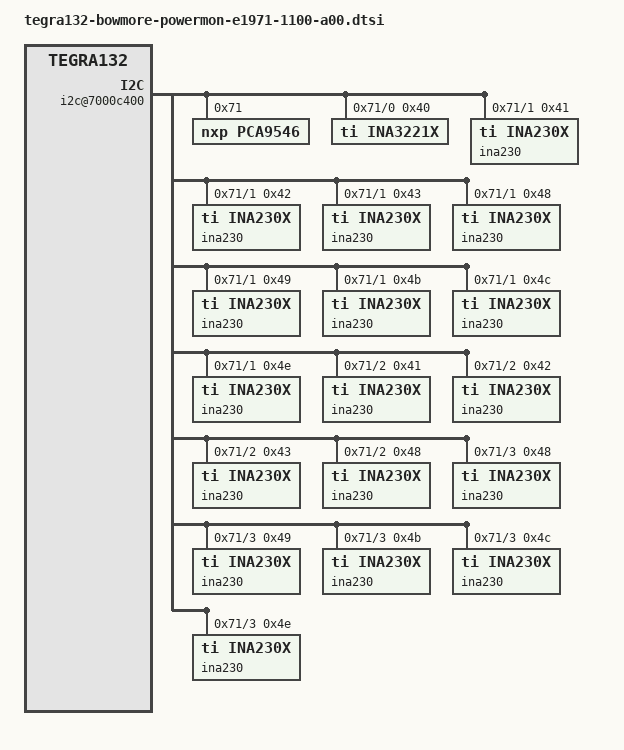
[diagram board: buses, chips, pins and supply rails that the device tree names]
/*
 * Power monitor devices for the E1971
 *
 * Copyright (c) 2014, NVIDIA CORPORATION.  All rights reserved.
 *
 * This program is free software; you can redistribute it and/or modify
 * it under the terms of the GNU General Public License as published by
 * the Free Software Foundation; either version 2 of the License, or
 * (at your option) any later version.
 *
 * This program is distributed in the hope that it will be useful, but WITHOUT
 * ANY WARRANTY; without even the implied warranty of MERCHANTABILITY or
 * FITNESS FOR A PARTICULAR PURPOSE.  See the GNU General Public License for
 * more details.
 */

/ {
	i2c@7000c400 {
		pca9546@71 {
			compatible = "nxp,pca9546";
			reg = <0x71>;
			#address-cells = <1>;
			#size-cells = <0>;
			i2c@0 {
				reg = <0>;
				#address-cells = <1>;
				#size-cells = <0>;
				i2c-mux,deselect-on-exit;

				ina3221x@40 {
					compatible = "ti,ina3221x";
					reg = <0x40>;
					ti,trigger-config = <0x7003>;
					ti,continuous-config = <0x7c07>;
					#address-cells = <1>;
					#size-cells = <0>;

					channel@0 {
						reg = <0x0>;
						ti,rail-name = "VDD_BAT_CHG";
						ti,current-warning-limit-ma = <8000>;
						ti,current-critical-limit-ma = <9000>;
						ti,shunt-resistor-mohm = <1>;
					};

					channel@1 {
						reg = <0x1>;
						ti,rail-name = "VDD_CPU";
						ti,shunt-resistor-mohm = <1>;
					};

					channel@2 {
						reg = <0x2>;
						ti,rail-name = "VDD_WWAN_MDM";
						ti,shunt-resistor-mohm = <1>;
					};
				};
			};

			i2c@1 {
				reg = <1>;
				i2c-mux,deselect-on-exit;
				#address-cells = <1>;
				#size-cells = <0>;

				ina230@41{
					compatible = "ti,ina230x";
					reg = <0x41>;
					ti,rail-name = "VDD_BAT_CHG";
					ti,continuous-config = <0x0407>;
					ti,trigger-config = <0x0403>;
					ti,calibration-data = <0x0E90>;
					ti,resistor = <5>;
					ti,power-lsb = <6866>;
					ti,divisor = <25>;
					ti,precision-multiplier = <1000>;
				};

				ina230@42{
					compatible = "ti,ina230x";
					reg = <0x42>;
					ti,rail-name = "VDD_SYS_BUCKCPU";
					ti,continuous-config = <0x0407>;
					ti,trigger-config = <0x0403>;
					ti,calibration-data = <0x0F9D>;
					ti,resistor = <10>;
					ti,power-lsb = <3202>;
					ti,divisor = <25>;
					ti,precision-multiplier = <1000>;
				};

				ina230@43{
					compatible = "ti,ina230x";
					reg = <0x43>;
					ti,rail-name = "VDD_SYS_BUCKGPU";
					ti,continuous-config = <0x0407>;
					ti,trigger-config = <0x0403>;
					ti,calibration-data = <0x176B>;
					ti,resistor = <10>;
					ti,power-lsb = <2135>;
					ti,divisor = <25>;
					ti,precision-multiplier = <1000>;
				};

				ina230@48{
					compatible = "ti,ina230x";
					reg = <0x48>;
					ti,rail-name = "VDD_SYS_BUCKSOC";
					ti,continuous-config = <0x0407>;
					ti,trigger-config = <0x0403>;
					ti,calibration-data = <0x2ED7>;
					ti,resistor = <10>;
					ti,power-lsb = <1067>;
					ti,divisor = <25>;
					ti,precision-multiplier = <1000>;
				};

				ina230@49{
					compatible = "ti,ina230x";
					reg = <0x49>;
					ti,rail-name = "VDD_5V0_SD2";
					ti,continuous-config = <0x0407>;
					ti,trigger-config = <0x0403>;
					ti,calibration-data = <0x4BAC>;
					ti,resistor = <10>;
					ti,power-lsb = <660>;
					ti,divisor = <25>;
					ti,precision-multiplier = <1000>;
				};

				ina230@4b{
					compatible = "ti,ina230x";
					reg = <0x4B>;
					ti,rail-name = "VDD_WWAN_MDM";
					ti,continuous-config = <0x0407>;
					ti,trigger-config = <0x0403>;
					ti,calibration-data = <0x3F39>;
					ti,resistor = <5>;
					ti,power-lsb = <1581>;
					ti,divisor = <25>;
					ti,precision-multiplier = <1000>;
				};

				ina230@4c{
					compatible = "ti,ina230x";
					reg = <0x4C>;
					ti,rail-name = "VDD_SYS_BL";
					ti,continuous-config = <0x0407>;
					ti,trigger-config = <0x0403>;
					ti,calibration-data = <0x2D6A>;
					ti,resistor = <30>;
					ti,power-lsb = <366>;
					ti,divisor = <25>;
					ti,precision-multiplier = <1000>;
				};

				ina230@4e{
					compatible = "ti,ina230x";
					reg = <0x4E>;
					ti,rail-name = "VDD_3V3A_COM";
					ti,continuous-config = <0x0407>;
					ti,trigger-config = <0x0403>;
					ti,calibration-data = <0x0C17>;
					ti,resistor = <100>;
					ti,power-lsb = <413>;
					ti,divisor = <25>;
					ti,precision-multiplier = <1000>;
				};
			};

			i2c@2 {
				reg = <2>;
				#address-cells = <1>;
				#size-cells = <0>;
				i2c-mux,deselect-on-exit;
				ina230@41{
					compatible = "ti,ina230x";
					reg = <0x41>;
					ti,rail-name = "VDD_RTC_LDO3";
					ti,continuous-config = <0x0407>;
					ti,trigger-config = <0x0403>;
					ti,calibration-data = <0x7FFF>;
					ti,resistor = <50>;
					ti,power-lsb = <78>;
					ti,divisor = <25>;
					ti,precision-multiplier = <1000>;
				};

				ina230@42{
					compatible = "ti,ina230x";
					reg = <0x42>;
					ti,rail-name = "VDD_3V3A_LDO1_6";
					ti,continuous-config = <0x0407>;
					ti,trigger-config = <0x0403>;
					ti,calibration-data = <0x7FFF>;
					ti,resistor = <1000>;
					ti,power-lsb = <3>;
					ti,divisor = <25>;
					ti,precision-multiplier = <1000>;
				};

				ina230@43{
					compatible = "ti,ina230x";
					reg = <0x43>;
					ti,rail-name = "VDD_DIS_3V3_LCD";
					ti,continuous-config = <0x0407>;
					ti,trigger-config = <0x0403>;
					ti,calibration-data = <0x7FFF>;
					ti,resistor = <10>;
					ti,power-lsb = <390>;
					ti,divisor = <25>;
					ti,precision-multiplier = <1000>;
				};

				ina230@48{
					compatible = "ti,ina230x";
					reg = <0x48>;
					ti,rail-name = "VDD_LCD_1V8B_DIS";
					ti,continuous-config = <0x0407>;
					ti,trigger-config = <0x0403>;
					ti,calibration-data = <0x7FFF>;
					ti,resistor = <100>;
					ti,power-lsb = <39>;
					ti,divisor = <25>;
					ti,precision-multiplier = <1000>;
				};
			};

			i2c@3 {
				reg = <3>;
				#address-cells = <1>;
				#size-cells = <0>;
				i2c-mux,deselect-on-exit;

				ina230@48{
					compatible = "ti,ina230x";
					reg = <0x48>;
					ti,rail-name = "VDD_GPU_BUCKGPU";
					ti,continuous-config = <0x0407>;
					ti,trigger-config = <0x0403>;
					ti,calibration-data = <0x51EA>;
					ti,resistor = <1>;
					ti,power-lsb = <6103>;
					ti,divisor = <25>;
					ti,precision-multiplier = <1000>;
				};

				ina230@49{
					compatible = "ti,ina230x";
					reg = <0x49>;
					ti,rail-name = "VDD_SOC_SD1";
					ti,continuous-config = <0x0407>;
					ti,trigger-config = <0x0403>;
					ti,calibration-data = <0x7FFF>;
					ti,resistor = <1>;
					ti,power-lsb = <3906>;
					ti,divisor = <25>;
					ti,precision-multiplier = <1000>;
				};

				ina230@4b{
					compatible = "ti,ina230x";
					reg = <0x4B>;
					ti,rail-name = "VDD_CPU_BUCKCPU";
					ti,continuous-config = <0x0407>;
					ti,trigger-config = <0x0403>;
					ti,calibration-data = <0x369C>;
					ti,resistor = <1>;
					ti,power-lsb = <9155>;
					ti,divisor = <25>;
					ti,precision-multiplier = <1000>;
				};

				ina230@4c{
					compatible = "ti,ina230x";
					reg = <0x4C>;
					ti,rail-name = "VDD_1V8_SD5";
					ti,continuous-config = <0x0407>;
					ti,trigger-config = <0x0403>;
					ti,calibration-data = <0x7FFF>;
					ti,resistor = <3>;
					ti,power-lsb = <1302>;
					ti,divisor = <25>;
					ti,precision-multiplier = <1000>;
				};

				ina230@4e{
					compatible = "ti,ina230x";
					reg = <0x4E>;
					ti,rail-name = "VDD_1V05_LDO0";
					ti,continuous-config = <0x0407>;
					ti,trigger-config = <0x0403>;
					ti,calibration-data = <0x7FFF>;
					ti,resistor = <30>;
					ti,power-lsb = <130>;
					ti,divisor = <25>;
					ti,precision-multiplier = <1000>;
				};
			};
		};
	};
};
